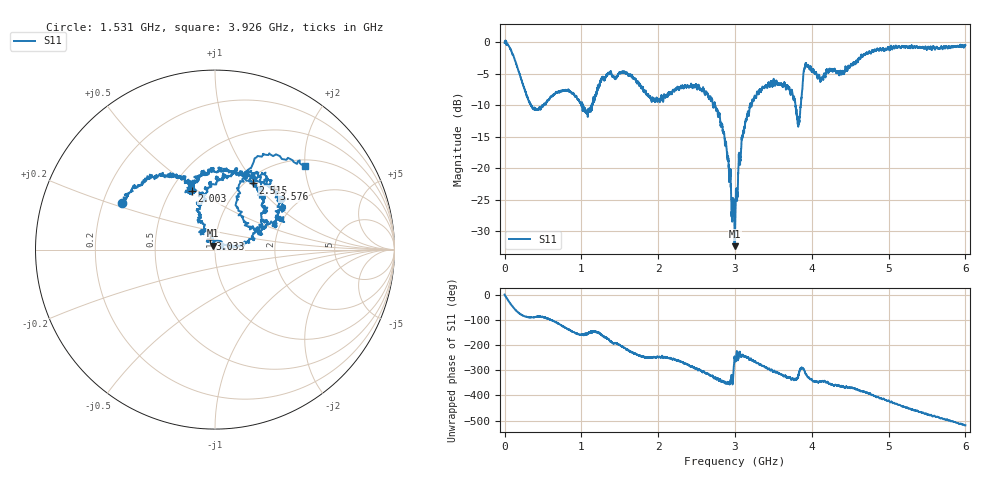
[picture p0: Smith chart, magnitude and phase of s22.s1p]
#  HZ  S  DB  R  50.0
! Rohde & Schwarz ZVL
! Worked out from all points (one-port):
!   4001 points, 1 MHz to 6 GHz, reference 50 ohm
!   lowest |S11| = -32.3 dB at 2.996 GHz (marker M1), VSWR 1.05, Z = 48.9 + j2.15 ohm
!   |S11| at or under -10 dB: 350.5 MHz to 488.2 MHz (137.7 MHz wide, 32.8 % of centre); 1.023 GHz to 1.132 GHz (109 MHz wide, 10.1 % of centre); 2.741 GHz to 3.194 GHz (452.3 MHz wide, 15.2 % of centre)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
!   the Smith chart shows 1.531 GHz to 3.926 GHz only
!   S11 on the Smith chart (normalised r, x): 1.531 GHz: 0.28, +0.22; 2.003 GHz: 0.63, +0.47; 2.515 GHz: 1.07, +0.98; 3.033 GHz: 0.94, +0.11; 3.576 GHz: 1.37, +1.19; 3.926 GHz: 1.14, +2.01
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1000000  -0.05 0.0
1.02983e8  -1.94 -46.4
2.319615e8  -6.47 -82.5
4.074322e8  -10.65 -88.5
7.50875e8  -7.67 -124.4
1.08382e9  -11.83 -157.0
1.241293e9  -6.38 -155.0
1.50075e9  -4.92 160.6
1.530745e9  -4.71 153.4
1.68072e9  -5.65 126.3
2.003166e9  -9.12 111.8
2.250625e9  -7.04 98.0
2.514581e9  -7.36 60.6
2.811532e9  -12.79 21.9
2.996001e9  -32.34 114.9
3.0005e9  -30.81 112.2
3.033494e9  -23.79 117.2
3.112981e9  -14.15 117.2
3.219464e9  -9.88 98.9
3.576404e9  -6.57 46.0
3.750375e9  -8.18 29.2
3.831362e9  -12.86 45.3
3.925846e9  -3.28 42.9
4.035328e9  -4.92 15.7
4.50025e9  -3.82 -10.3
4.770205e9  -1.63 -36.8
5.250125e9  -0.79 -89.4
6e9  -0.47 -158.7
